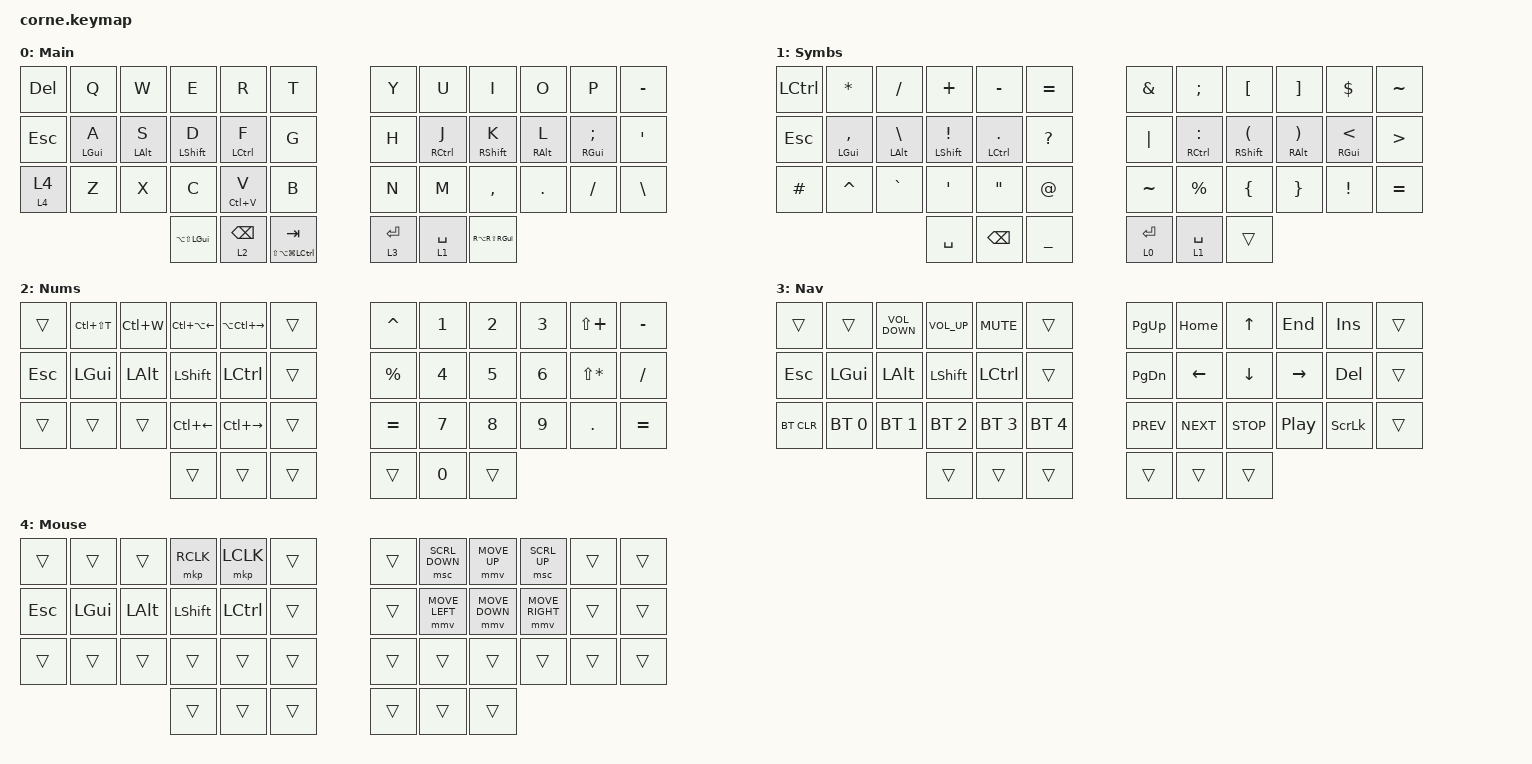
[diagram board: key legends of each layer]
/*
 * Copyright (c) 2020 The ZMK Contributors
 *
 * SPDX-License-Identifier: MIT
 */

#include <behaviors.dtsi>
#include <dt-bindings/zmk/bt.h>
#include <dt-bindings/zmk/keys.h>
#include <dt-bindings/zmk/pointing.h>

/ {
    behaviors {
        HRR: HRR {
            compatible = "zmk,behavior-hold-tap";
            label = "HRR";
            bindings = <&kp>, <&kp>;

            #binding-cells = <2>;
            require-prior-idle-ms = <140>;
            tapping-term-ms = <200>;
            quick-tap-ms = <175>;
            flavor = "balanced";
            hold-trigger-key-positions = <18 18 19 20 21 22 23 30 31 32 33 34 35 6 7 8 9 10 11 20 39 40 41 36 37 38>;
            hold-trigger-on-release;
        };

        HRL: HRL {
            compatible = "zmk,behavior-hold-tap";
            label = "HRL";
            bindings = <&kp>, <&kp>;

            #binding-cells = <2>;
            require-prior-idle-ms = <140>;
            tapping-term-ms = <200>;
            quick-tap-ms = <175>;
            flavor = "balanced";
            hold-trigger-key-positions = <0 1 2 3 4 5 12 13 14 15 16 17 24 25 26 27 28 29 36 37 38 39 40 41>;
            hold-trigger-on-release;
        };

        tap_hold: tap_hold {
            compatible = "zmk,behavior-hold-tap";
            label = "TAP_HOLD";
            bindings = <&mo>, <&tog>;

            #binding-cells = <2>;
            tapping-term-ms = <200>;
        };
    };

    keymap {
        compatible = "zmk,keymap";

        main {
            // -----------------------------------------------------------------------------------------
            // |  TAB |  Q  |  W  |  E  |  R  |  T  |   |  Y  |  U   |  I  |  O  |  P  | BKSP |
            // | CTRL |  A  |  S  |  D  |  F  |  G  |   |  H  |  J   |  K  |  L  |  ;  |  '   |
            // | SHFT |  Z  |  X  |  C  |  V  |  B  |   |  N  |  M   |  ,  |  .  |  /  | ESC  |
            //                    | GUI | LWR | SPC |   | ENT | RSE  | ALT |

            display-name = "Main";
            bindings = <
&kp DELETE     &kp Q            &kp W            &kp E                 &kp R            &kp T                        &kp Y        &kp U         &kp I                  &kp O        &kp P           &kp MINUS
&kp ESCAPE     &HRL LEFT_GUI A  &HRL LEFT_ALT S  &HRL LSHIFT D         &HRL LCTRL F     &kp G                        &kp H        &HRR RCTRL J  &HRR RSHIFT K          &HRR RALT L  &HRR RGUI SEMI  &kp SQT
&tap_hold 4 4  &kp Z            &kp X            &kp C                 &HRL LC(V) V     &kp B                        &kp N        &kp M         &kp COMMA              &kp DOT      &kp FSLH        &kp BSLH
                                                 &kp LA(LS(LEFT_GUI))  &lt 2 BACKSPACE  &mt LS(LA(LG(LCTRL))) TAB    &lt 3 ENTER  &lt 1 SPACE   &kp RA(RS(RIGHT_GUI))
            >;
        };

        symbols {
            // -----------------------------------------------------------------------------------------
            // |  TAB |  !  |  @  |  #  |  $  |  %  |   |  ^  |  &  |  *  |  (  |  )  | BKSP |
            // | CTRL |     |     |     |     |     |   |  -  |  =  |  [  |  ]  |  \  |  `   |
            // | SHFT |     |     |     |     |     |   |  _  |  +  |  {  |  }  | "|" |  ~   |
            //                    | GUI |     | SPC |   | ENT |     | ALT |

            display-name = "Symbs";
            bindings = <
&kp LCTRL   &kp ASTERISK         &kp SLASH            &kp PLUS                &kp MINUS          &kp EQUAL         &kp AMPERSAND  &kp SEMICOLON     &kp LEFT_BRACKET             &kp RIGHT_BRACKET                 &kp DOLLAR                &kp TILDE
&kp ESCAPE  &HRL LEFT_GUI COMMA  &HRL LALT BACKSLASH  &HRL LSHFT EXCLAMATION  &HRL LCTRL PERIOD  &kp QUESTION      &kp PIPE       &HRR RCTRL COLON  &HRR RSHFT LEFT_PARENTHESIS  &HRR RIGHT_ALT RIGHT_PARENTHESIS  &HRR RIGHT_GUI LESS_THAN  &kp GREATER_THAN
&kp HASH    &kp CARET            &kp GRAVE            &kp SQT                 &kp DOUBLE_QUOTES  &kp AT_SIGN       &kp TILDE      &kp PERCENT       &kp LBRC                     &kp RBRC                          &kp EXCLAMATION           &kp EQUAL
                                                      &kp SPACE               &kp BACKSPACE      &kp UNDERSCORE    &lt 0 ENTER    &lt 1 SPACE       &trans
            >;

            label = "Symbs";
        };

        nums {
            bindings = <
&trans   &kp LC(LS(T))  &kp LC(W)     &kp LC(LA(LEFT))  &kp LA(LC(RIGHT))  &trans    &kp CARET    &kp N1  &kp N2  &kp N3  &kp LS(PLUS)  &kp MINUS
&kp ESC  &kp LGUI       &kp LEFT_ALT  &kp LSHFT         &kp LCTRL          &trans    &kp PERCENT  &kp N4  &kp N5  &kp N6  &kp LS(STAR)  &kp FSLH
&trans   &trans         &trans        &kp LC(LEFT)      &kp LC(RIGHT)      &trans    &kp EQUAL    &kp N7  &kp N8  &kp N9  &kp DOT       &kp EQUAL
                                      &trans            &trans             &trans    &trans       &kp N0  &trans
            >;

            label = "Nums";
        };

        navigation {
            bindings = <
&trans      &trans        &kp C_VOLUME_DOWN  &kp C_VOLUME_UP  &kp C_MUTE    &trans          &kp PG_UP   &kp HOME    &kp UP      &kp END           &kp INSERT      &trans
&kp ESC     &kp LGUI      &kp LEFT_ALT       &kp LSHFT        &kp LCTRL     &trans          &kp PG_DN   &kp LEFT    &kp DOWN    &kp RIGHT         &kp DEL         &trans
&bt BT_CLR  &bt BT_SEL 0  &bt BT_SEL 1       &bt BT_SEL 2     &bt BT_SEL 3  &bt BT_SEL 4    &kp C_PREV  &kp C_NEXT  &kp C_STOP  &kp C_PLAY_PAUSE  &kp SCROLLLOCK  &trans
                                             &trans           &trans        &trans          &trans      &trans      &trans
            >;

            label = "Nav";
        };

        mouse {
            bindings = <
&trans   &trans    &trans    &mkp RCLK  &mkp LCLK  &trans    &trans  &msc SCRL_DOWN  &mmv MOVE_UP    &msc SCRL_UP     &trans  &trans
&kp ESC  &kp LGUI  &kp LALT  &kp LSHFT  &kp LCTRL  &trans    &trans  &mmv MOVE_LEFT  &mmv MOVE_DOWN  &mmv MOVE_RIGHT  &trans  &trans
&trans   &trans    &trans    &trans     &trans     &trans    &trans  &trans          &trans          &trans           &trans  &trans
                             &trans     &trans     &trans    &trans  &trans          &trans
            >;

            label = "Mouse";
        };
    };
};
